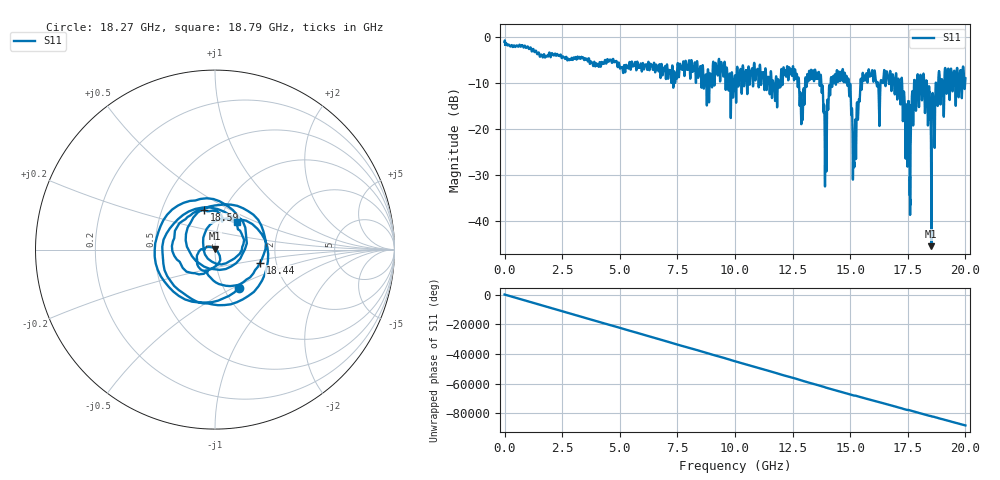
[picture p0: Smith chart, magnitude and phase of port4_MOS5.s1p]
! MS46122B
! 2250307/22442219
! 6/20/2025 7:51:40 AM
! C:\USERS\SPARKY\DOCUMENTS\VNA_DATA\JUNE20_2025\3.0K\PORT4_MOS5.S1P
! CHANNEL.1
! TR.MEASUREMENT
! RAW.DATA
# GHZ S RI R 50.0
! FREQ.GHZ  S11RE  S11IM
!; PortSelection: Port_1
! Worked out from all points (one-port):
!   10001 points, 1 MHz to 20 GHz, reference 50 ohm
!   lowest |S11| = -45.6 dB at 18.52 GHz (marker M1), VSWR 1.01, Z = 50.1 + j0.521 ohm
!   |S11| at or under -10 dB: 13.75 GHz to 14.15 GHz (406.9 MHz wide, 2.92 % of centre); 14.94 GHz to 15.44 GHz (505.1 MHz wide, 3.33 % of centre); 17.25 GHz to 17.77 GHz (518.2 MHz wide, 2.96 % of centre) (the widest 3 of 64)
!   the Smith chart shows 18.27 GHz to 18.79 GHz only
!   S11 on the Smith chart (normalised r, x): 18.27 GHz: 1.18, -0.53; 18.44 GHz: 1.64, -0.26; 18.59 GHz: 0.81, +0.37; 18.79 GHz: 1.21, +0.39
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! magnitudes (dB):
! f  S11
! 1 MHz  -1.0
! 2.501 GHz  -4.4
! 5.001 GHz  -6.8
! 7.501 GHz  -6.1
! 8.803 GHz  -9.3
! 9.369 GHz  -7.9
! 10 GHz  -8.3
! 12.5 GHz  -6.9
! 12.89 GHz  -16.8
! 13.22 GHz  -7.3
! 13.64 GHz  -7.6
! 13.93 GHz  -16.4
! 14.25 GHz  -8.6
! 15 GHz  -10.1
! 15.18 GHz  -28.3
! 15.52 GHz  -9.0
! 15.88 GHz  -8.3
! 16.21 GHz  -10.4
! 16.55 GHz  -9.8
! 17.17 GHz  -13.0
! 17.5 GHz  -20.7
! 17.86 GHz  -15.9
! 18.27 GHz  -12.0
! 18.44 GHz  -11.7
! 18.52 GHz  -45.6
! 18.59 GHz  -12.9
! 18.79 GHz  -14.0
! 20 GHz  -8.9
